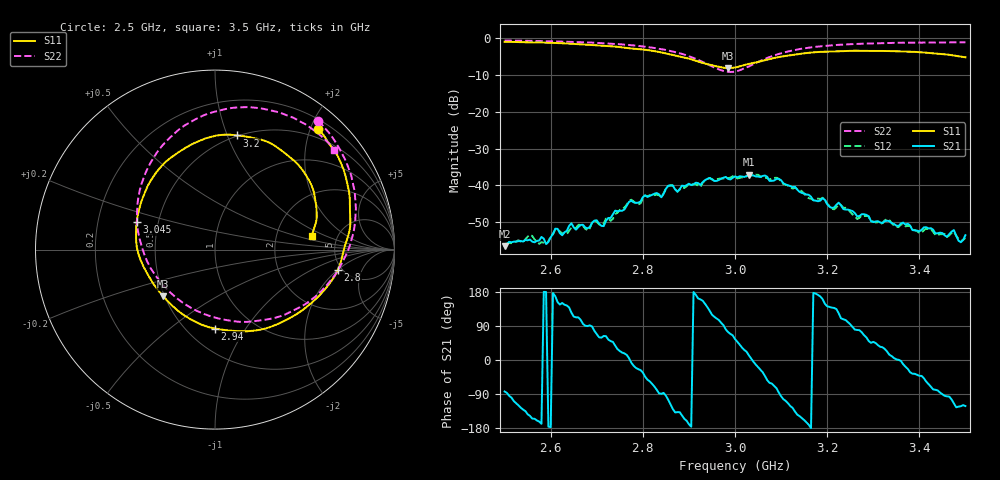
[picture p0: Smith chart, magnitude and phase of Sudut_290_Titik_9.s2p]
# Hz S RI R 50
! CMT, C1220, 16058040, 17.2.0/1
! Date: 15/08/2018 09:50:17
! Data: Format (Calibration Info)
! Freq  S11: Re/Im (F2)  S21: Re/Im (F2)  S12: Re/Im (F2)  S22: Re/Im (F2)
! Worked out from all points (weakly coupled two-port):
!   201 points, 2.5 GHz to 3.5 GHz, reference 50 ohm
!   highest |S21| = -37.03 dB at 3.03 GHz (marker M1); lowest = -56.4 dB at 2.5 GHz (marker M2)
!   lowest |S11| = -8.2 dB at 2.985 GHz (marker M3), VSWR 2.27, Z = 24.6 - j15.1 ohm
!   |S11| at or under -10 dB: nowhere
!   |S22| runs from -9.3 to -0.7 dB; largest |S21 - S12| = 0.0011
!   S11 on the Smith chart (normalised r, x): 2.5 GHz: 0.35, +2.13; 2.8 GHz: 4.64, -1.99; 2.94 GHz: 0.68, -0.74; 3.045 GHz: 0.38, +0.15; 3.2 GHz: 0.49, +1.08; 3.5 GHz: 3.22, +0.69
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2.5e9  0.5761 0.6705  0.00018 -0.0015  0.00024 -0.00159  0.5752 0.7175
2.555e9  0.6406 0.5828  -0.00156 -0.000995  -0.00177 -0.00121  0.6364 0.6493
2.59e9  0.6855 0.5183  -0.00161 2.03e-05  -0.00158 -8.7e-05  0.6728 0.5965
2.61e9  0.7027 0.4793  -0.00254 0.00054  -0.0025 0.00048  0.6931 0.5623
2.625e9  0.7169 0.4442  -0.00184 0.00104  -0.00183 0.00128  0.7069 0.5361
2.67e9  0.7455 0.3291  -0.000282 0.00293  -8.8e-05 0.00286  0.7482 0.4446
2.715e9  0.7528 0.1945  0.00126 0.00252  0.00137 0.0027  0.7762 0.3335
2.8e9  0.6846 -0.1114  0.00584 -0.00377  0.00573 -0.00337  0.7616 0.0579
2.835e9  0.5967 -0.2395  0.000308 -0.0076  0.000522 -0.00736  0.7047 -0.0786
2.94e9  0.000262 -0.4399  -0.00935 0.00798  -0.00952 0.00768  0.1766 -0.4028
2.985e9  -0.2886 -0.2601  0.00347 0.0118  0.00298 0.0121  -0.1784 -0.2968
3e9  -0.3612 -0.1615  0.00757 0.0109  0.00828 0.0106  -0.2792 -0.2081
3.03e9  -0.4395 0.0484  0.0137 0.00304  0.0135 0.00314  -0.4081 0.0172
3.045e9  -0.4365 0.1543  0.013 -0.00276  0.0138 -0.0027  -0.4339 0.1385
3.105e9  -0.2697 0.4933  -0.00248 -0.0104  -0.00259 -0.0101  -0.325 0.5392
3.17e9  0.00694 0.6351  -0.0063 0.000318  -0.00632 -0.00017  -0.07 0.745
3.2e9  0.1217 0.6362  -0.0044 0.00346  -0.00427 0.00374  0.043 0.7793
3.335e9  0.4763 0.4577  0.0032 0.000795  0.00332 0.000701  0.4173 0.7419
3.46e9  0.5663 0.176  -0.000214 -0.00201  -0.000268 -0.00199  0.6189 0.608
3.475e9  0.5581 0.1375  -0.00103 -0.00227  -0.000981 -0.00216  0.6373 0.5894
3.49e9  0.5469 0.0992  -0.000903 -0.00145  -0.00103 -0.00142  0.6544 0.5704
3.5e9  0.5387 0.0753  -0.00111 -0.00181  -0.00111 -0.00161  0.6656 0.5576
